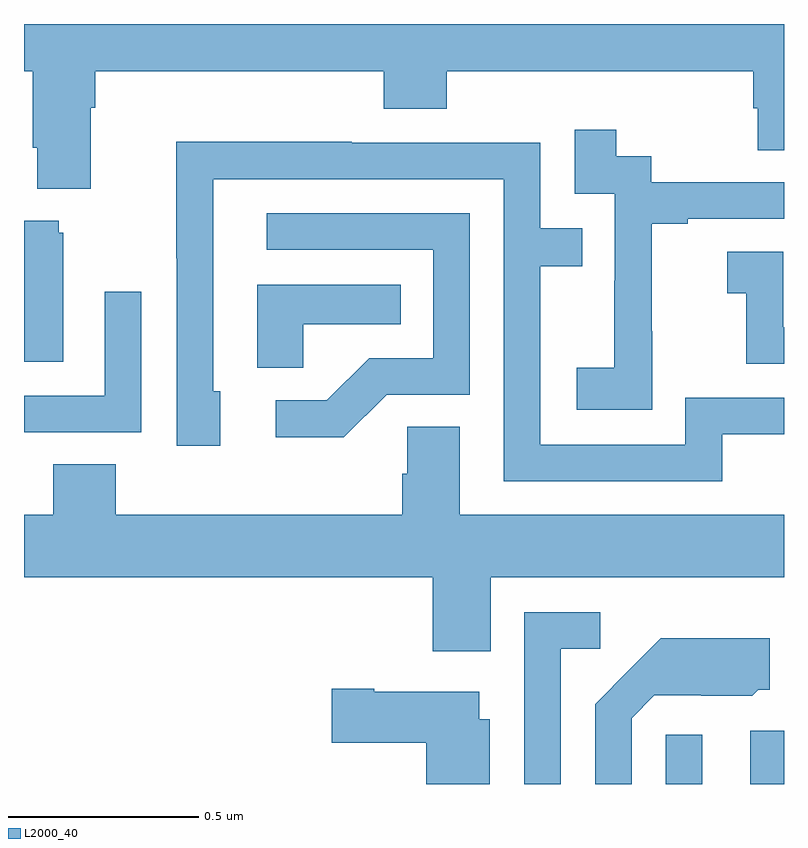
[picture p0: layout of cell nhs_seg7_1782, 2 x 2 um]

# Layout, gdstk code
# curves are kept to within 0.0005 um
import gdstk
lib = gdstk.Library(unit=1e-6, precision=1e-09)
def R(c, l, rs):  # rectangles x0, y0, x1, y1
    for r in rs: c.add(gdstk.rectangle(r[:2], r[2:], *l))
def P(c, l, *ps):  # polygons
    for p in ps: c.add(gdstk.Polygon(p, *l))
L2000_40 = (2000, 40)

nhs_seg7_1782 = lib.new_cell('nhs_seg7_1782')
R(nhs_seg7_1782, L2000_40, [(136.689,1072,136.785,1072.129), (136.911,1072,137,1072.14)])
P(nhs_seg7_1782, L2000_40, [(135.175,1073.78),(135.188,1073.78),(135.188,1073.876),(135.947,1073.876),(135.947,1073.777),(136.112,1073.777),(136.112,1073.876),(136.919,1073.876),(136.919,1073.778),(136.931,1073.778),(136.931,1073.668),(137,1073.668),(137,1074),(135,1074),(135,1073.876),(135.023,1073.876),(135.023,1073.674),(135.035,1073.674),(135.035,1073.567),(135.175,1073.567)],
  [(136.653,1073.191),(136.652,1073.191),(136.652,1073.475),(136.747,1073.475),(136.747,1073.487),(137,1073.487),(137,1073.583),(136.65,1073.583),(136.65,1073.652),(136.558,1073.652),(136.558,1073.722),(136.449,1073.722),(136.449,1073.553),(136.554,1073.553),(136.554,1073.324),(136.553,1073.324),(136.553,1073.095),(136.455,1073.095),(136.455,1072.985),(136.653,1072.985)],
  [(136.837,1072.92),(137,1072.92),(137,1073.016),(136.74,1073.016),(136.74,1072.893),(136.359,1072.893),(136.359,1073.362),(136.469,1073.362),(136.469,1073.463),(136.359,1073.463),(136.359,1073.688),(135.863,1073.688),(135.863,1073.69),(135.4,1073.69),(135.4,1073.383),(135.402,1073.383),(135.402,1072.89),(135.517,1072.89),(135.517,1073.034),(135.498,1073.034),(135.498,1073.592),(136.263,1073.592),(136.263,1072.797),(136.837,1072.797)],
  [(135.954,1073.025),(136.173,1073.025),(136.173,1073.502),(135.639,1073.502),(135.639,1073.406),(136.077,1073.406),(136.077,1073.121),(135.908,1073.121),(135.797,1073.01),(135.663,1073.01),(135.663,1072.913),(135.841,1072.913)],
  [(135.103,1073.451),(135.092,1073.451),(135.092,1073.482),(135,1073.482),(135,1073.111),(135.103,1073.111)],
  [(137,1073.202),(136.998,1073.202),(136.998,1073.401),(136.851,1073.401),(136.851,1073.291),(136.9,1073.291),(136.9,1073.106),(137,1073.106)],
  [(135.735,1073.21),(135.992,1073.21),(135.992,1073.314),(135.614,1073.314),(135.614,1073.095),(135.735,1073.095)],
  [(135.309,1073.296),(135.213,1073.296),(135.213,1073.022),(135,1073.022),(135,1072.926),(135.309,1072.926)],
  [(136.228,1072.544),(137,1072.544),(137,1072.708),(136.147,1072.708),(136.147,1072.94),(136.008,1072.94),(136.008,1072.817),(135.995,1072.817),(135.995,1072.708),(135.242,1072.708),(135.242,1072.841),(135.077,1072.841),(135.077,1072.708),(135,1072.708),(135,1072.544),(136.076,1072.544),(136.076,1072.35),(136.228,1072.35)],
  [(136.413,1072.356),(136.516,1072.356),(136.516,1072.452),(136.317,1072.452),(136.317,1072),(136.413,1072)],
  [(136.599,1072.173),(136.659,1072.233),(136.782,1072.233),(136.782,1072.232),(136.916,1072.232),(136.932,1072.248),(136.963,1072.248),(136.963,1072.384),(136.675,1072.384),(136.503,1072.21),(136.503,1072),(136.599,1072)],
  [(136.225,1072.17),(136.198,1072.17),(136.198,1072.243),(135.922,1072.243),(135.922,1072.251),(135.81,1072.251),(135.81,1072.109),(136.058,1072.109),(136.058,1072),(136.225,1072)])

lib.write_gds('nhs_seg7_1782.gds')
